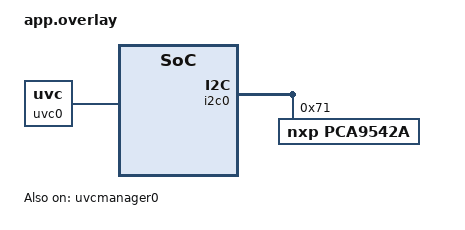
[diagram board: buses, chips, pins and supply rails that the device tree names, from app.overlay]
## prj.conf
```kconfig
CONFIG_ASSERT=y

# SHELL
CONFIG_SHELL=y
CONFIG_I2C_SHELL=y
CONFIG_KERNEL_SHELL=y
CONFIG_SHELL_BACKEND_SERIAL_CHECK_DTR=y

# LOG
CONFIG_LOG=y
CONFIG_LOG_MODE_MINIMAL=y
CONFIG_UDC_DRIVER_LOG_LEVEL_WRN=y
CONFIG_USBD_LOG_LEVEL_WRN=y
CONFIG_USBD_UVC_LOG_LEVEL_WRN=y
CONFIG_VIDEO_LOG_LEVEL_DBG=y

# USB
CONFIG_USBD_VIDEO_CLASS=y
CONFIG_USBD_VIDEO_HEADER_SIZE=8

# VIDEO
CONFIG_VIDEO=y
CONFIG_VIDEO_IMX219=y
CONFIG_VIDEO_UVCMANAGER=y

# I2C
CONFIG_I2C_PCA9542A_ROOT_INIT_PRIO=1
CONFIG_I2C_PCA9542A_CHANNEL_INIT_PRIO=2
CONFIG_I2C_PCA9542A_IGNORE_FAILURE=y
```

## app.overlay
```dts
#include <zephyr/dt-bindings/usb/video.h>

/* This builds a complete chain through "source = <&...>;":
 * - USB Video Class (UVC), exposing the controls to the host and communicating with it.
 * - UVC Manager, controlled by the UVC class protocol, doing I/O between the sensor and USB.
 * - IMX219 sensor, with configuration coming from the UVC Manager and the host before it.
 */

&zephyr_udc0 {

	endpoints {
		/* For UVC0 */
		ep@81 {
			reg = <0x81>;
			num-trbs = <4>;
			uvcmanager = <&uvcmanager0>;
		};
	};

	uvc0: zephyr_uvc0 {
		compatible = "zephyr,uvc";

		/* This builds a control chain to explain the organization
		 * of the video system to the host, changing the topology
		 * here will not affect how the device works.
		 */

		uvc0_ct: camera_terminal {
			compatible = "zephyr,uvc-control-ct";
			control-ae-mode;
			control-exposure-time-absolute;
			control-target = <&imx219>;
		};

		uvc0_pu: processing_unit {
			compatible = "zephyr,uvc-control-pu";
			control-gain;
			control-target = <&imx219>;
			source-entity = <&uvc0_ct>;
		};

		uvc0_ot: output_terminal {
			compatible = "zephyr,uvc-control-ot";
			/* Receives .stream_start() and .set_format() */
			control-target = <&uvcmanager0>;
			source-entity = <&uvc0_pu>;
		};

		format-uncompressed {
			compatible = "zephyr,uvc-format-uncompressed";
			fourcc = "YUYV";
			guid = [UVC_GUID_YUY2];
			bits-per-pixel = <16>;

			/* Lists of formats presented to the host */

			FHD {
				/* There are 2 rows and columns less as required to do debayer. */
				size = <1920 1080>;
				max-fps = <30>;
			};
		};
	};
};

&uvcmanager0 {
	source = <&imx219>;
	fourcc = "BA81";
	status = "okay";
};

&i2c0 {
	pca9542a@71 {
		compatible = "nxp,pca9542a";
		reg = <0x71>;
		#address-cells = <1>;
		#size-cells = <0>;
 
		ch@0 {
			compatible = "nxp,pca9542a-channel";
			reg = <0>;
			#address-cells = <1>;
			#size-cells = <0>;
 
			imx219: imx219@10 {
				compatible = "sony,imx219";
				reg = <0x10>;
			};
		};
	};
};
```

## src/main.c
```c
#include <zephyr/kernel.h>
#include <zephyr/devicetree.h>
#include <zephyr/drivers/video.h>
#include <zephyr/logging/log.h>

LOG_MODULE_REGISTER(app, LOG_LEVEL_INF);

static const struct device *uvc0_dev = DEVICE_DT_GET(DT_NODELABEL(uvc0));

int uvc0_enqueue_first_frame(struct video_buffer *vbuf)
{
	struct video_format fmt = {0};
	int ret;

	ret = video_get_format(uvc0_dev, VIDEO_EP_IN, &fmt);
	if (ret == -EAGAIN) {
		return false;
	}
	if (ret) {
		LOG_ERR("failed to get the video format");
		return ret;
	}

	/* The buffer address is the FIFO endpoint */
	vbuf->buffer = (void *)DT_REG_ADDR_BY_NAME(DT_NODELABEL(uvcmanager0), fifo);
	vbuf->size = vbuf->bytesused = fmt.pitch * fmt.height;
	vbuf->flags = VIDEO_BUF_EOF;

	LOG_INF("frame %ux%u, %u bytes, addr %p", fmt.width, fmt.height, fmt.pitch * fmt.height, vbuf->buffer);

	/* Only the first buffer needs to be enqueued when using the UVC Manager */
	ret = video_enqueue(uvc0_dev, VIDEO_EP_IN, vbuf);
	if (ret) {
		LOG_ERR("UVC0: failed to enqueue the first frame");
		return ret;
	}
	LOG_DBG("enqueued %p to %s", vbuf, uvc0_dev->name);

	LOG_INF("UVC0 ready for I/O");

	return true;
}

int main(void)
{
	struct video_buffer vbuf = {0};
	int ret;

	/* Get the video format once it is selected by the host */
	for (bool uvc0_ready = 0; !uvc0_ready;) {
		if (!uvc0_ready) {
			ret = uvc0_enqueue_first_frame(&vbuf);
			if (ret < 0) {
				LOG_ERR("UVC0: failed to enqueue the first frame");
				return ret;
			}
			uvc0_ready = ret;
		}

		k_sleep(K_MSEC(10));
	}

	k_sleep(K_FOREVER);
	return 0;
}
```
